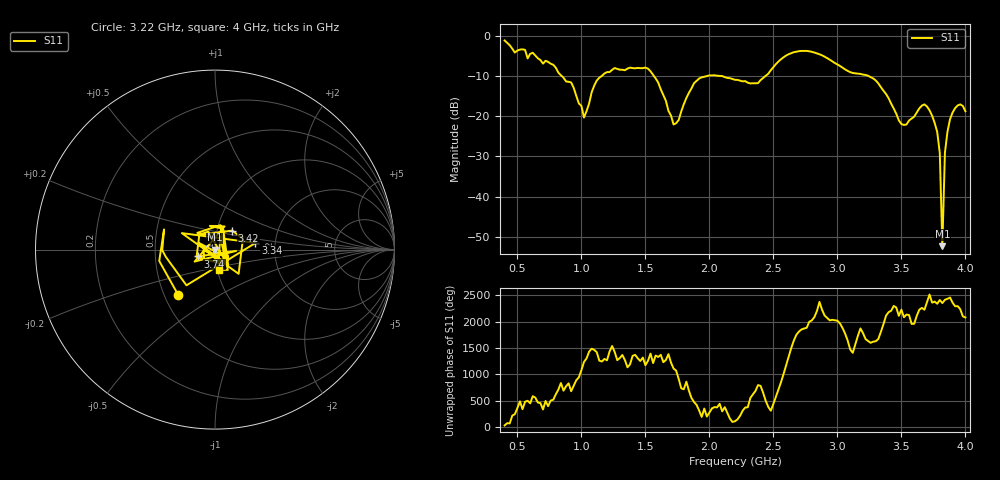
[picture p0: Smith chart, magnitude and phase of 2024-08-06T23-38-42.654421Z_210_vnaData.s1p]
!Created with skrf (http://scikit-rf.org).
# Hz S RI R 50.0
!freq ReS11 ImS11
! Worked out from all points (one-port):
!   181 points, 400 MHz to 4 GHz, reference 50 ohm
!   lowest |S11| = -52.3 dB at 3.82 GHz (marker M1), VSWR 1.00, Z = 49.8 - j0.0586 ohm
!   |S11| at or under -10 dB: 1.566 GHz to 1.985 GHz (419.2 MHz wide, 23.6 % of centre); 2.076 GHz to 2.44 GHz (364.6 MHz wide, 16.1 % of centre); 3.241 GHz to end of sweep (the widest 3 of 4)
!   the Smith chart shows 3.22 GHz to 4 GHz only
!   S11 on the Smith chart (normalised r, x): 3.22 GHz: 0.59, -0.33; 3.34 GHz: 1.58, +0.12; 3.42 GHz: 1.18, +0.26; 3.74 GHz: 0.83, -0.06; 4 GHz: 1.02, -0.23
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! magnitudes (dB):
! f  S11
! 400 MHz  -1.2
! 860 MHz  -10.4
! 920 MHz  -11.6
! 1.02 GHz  -20.4
! 1.12 GHz  -11.2
! 1.3 GHz  -8.5
! 1.52 GHz  -8.2
! 1.72 GHz  -22.1
! 1.76 GHz  -21.0
! 1.92 GHz  -10.6
! 2.2 GHz  -11.0
! 2.38 GHz  -11.8
! 2.66 GHz  -4.1
! 3.1 GHz  -9.1
! 3.22 GHz  -9.8
! 3.34 GHz  -12.8
! 3.42 GHz  -16.9
! 3.5 GHz  -22.0
! 3.56 GHz  -21.1
! 3.68 GHz  -17.1
! 3.74 GHz  -19.9
! 3.78 GHz  -24.0
! 3.8 GHz  -29.2
! 3.82 GHz  -52.3
! 3.84 GHz  -29.1
! 3.86 GHz  -23.9
! 3.92 GHz  -18.0
! 4 GHz  -18.8
